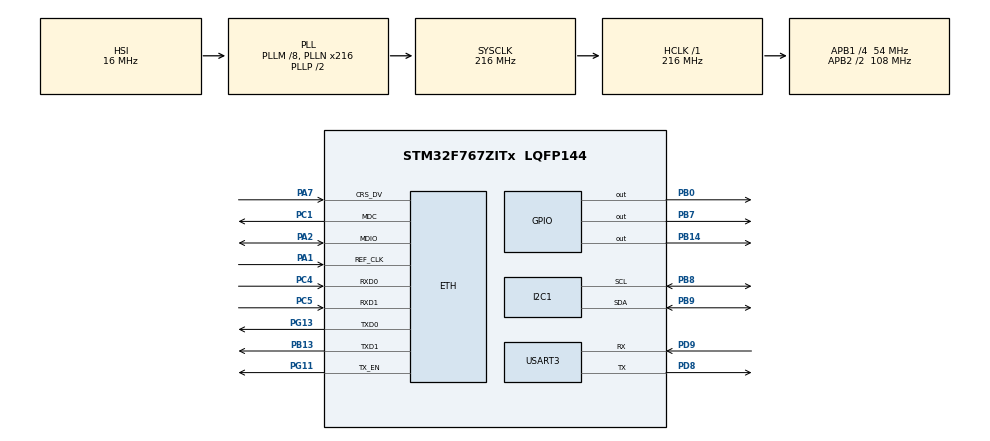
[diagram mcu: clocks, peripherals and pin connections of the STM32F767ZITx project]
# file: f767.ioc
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ETH.MediaInterface=HAL_ETH_RMII_MODE
FREERTOS.Tasks01=defaultTask,24,2048,StartDefaultTask,Default,NULL,Dynamic,NULL,NULL
FREERTOS.configTOTAL_HEAP_SIZE=65536
FREERTOS.configUSE_NEWLIB_REENTRANT=1
I2C1.Timing=0x20404768
Mcu.Family=STM32F7
Mcu.Name=STM32F767ZITx
Mcu.Package=LQFP144
NVIC.ETH_IRQn=true\:5\:0\:false\:false\:false\:true\:true\:false\:true
NVIC.PriorityGroup=NVIC_PRIORITYGROUP_4
NVIC.TIM6_DAC_IRQn=true\:15\:0\:false\:false\:true\:false\:false\:true\:true
NVIC.TimeBase=TIM6_DAC_IRQn
NVIC.TimeBaseIP=TIM6
PA1.Mode=RMII
PA1.Signal=ETH_REF_CLK
PA2.Mode=RMII
PA2.Signal=ETH_MDIO
PA7.Mode=RMII
PA7.Signal=ETH_CRS_DV
PB0.Signal=GPIO_Output
PB13.Mode=RMII
PB13.Signal=ETH_TXD1
PB14.Signal=GPIO_Output
PB7.Signal=GPIO_Output
PB8.Mode=I2C
PB8.Signal=I2C1_SCL
PB9.Mode=I2C
PB9.Signal=I2C1_SDA
PC1.Mode=RMII
PC1.Signal=ETH_MDC
PC4.Mode=RMII
PC4.Signal=ETH_RXD0
PC5.Mode=RMII
PC5.Signal=ETH_RXD1
PD8.Mode=Asynchronous
PD8.Signal=USART3_TX
PD9.Mode=Asynchronous
PD9.Signal=USART3_RX
PG11.Mode=RMII
PG11.Signal=ETH_TX_EN
PG13.Mode=RMII
PG13.Signal=ETH_TXD0
ProjectManager.HeapSize=0x200
ProjectManager.StackSize=0x400
ProjectManager.TargetToolchain=STM32CubeIDE
RCC.48MHZClocksFreq_Value=45000000
RCC.AHBFreq_Value=216000000
RCC.APB1CLKDivider=RCC_HCLK_DIV4
RCC.APB1Freq_Value=54000000
RCC.APB1TimFreq_Value=108000000
RCC.APB2CLKDivider=RCC_HCLK_DIV2
RCC.APB2Freq_Value=108000000
RCC.APB2TimFreq_Value=216000000
RCC.CortexFreq_Value=216000000
RCC.HCLKFreq_Value=216000000
RCC.HSE_VALUE=25000000
RCC.HSI_VALUE=16000000
RCC.LSE_VALUE=32768
RCC.PLLM=8
RCC.PLLN=216
RCC.PLLQ=9
RCC.SYSCLKFreq_VALUE=216000000
RCC.SYSCLKSource=RCC_SYSCLKSOURCE_PLLCLK
RCC.USBFreq_Value=48000000
RCC.VCOOutputFreq_Value=432000000
USART3.VirtualMode=VM_ASYNC
USART3.VirtualMode-Asynchronous=VM_ASYNC
VP_FREERTOS_VS_CMSIS_V2.Mode=CMSIS_V2
VP_RNG_VS_RNG.Mode=RNG_Activate
VP_SYS_VS_tim6.Mode=TIM6
board=custom

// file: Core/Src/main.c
/* USER CODE BEGIN Header */
/**
  ******************************************************************************
  * @file           : main.c
  * @brief          : Main program body
  ******************************************************************************
  * @attention
  *
  * Copyright (c) 2024 STMicroelectronics.
  * All rights reserved.
  *
  * This software is licensed under terms that can be found in the LICENSE file
  * in the root directory of this software component.
  * If no LICENSE file comes with this software, it is provided AS-IS.
  *
  ******************************************************************************
  */
/* USER CODE END Header */
#include "main.h"
#include "string.h"
#include "cmsis_os.h"

/* USER CODE BEGIN Includes */
#include "mongoose_glue.h"
#include "mongoose.h"

#include <stdint.h>

int16_t myIMU_ReadAccelX(void);
int16_t myIMU_ReadAccelY(void);
int16_t myIMU_ReadAccelZ(void);
/* USER CODE END Includes */

#if defined ( __ICCARM__ ) /*!< IAR Compiler */
#pragma location=0x2007c000
ETH_DMADescTypeDef  DMARxDscrTab[ETH_RX_DESC_CNT]; /* Ethernet Rx DMA Descriptors */
#pragma location=0x2007c0a0
ETH_DMADescTypeDef  DMATxDscrTab[ETH_TX_DESC_CNT]; /* Ethernet Tx DMA Descriptors */

#elif defined ( __CC_ARM )  /* MDK ARM Compiler */

__attribute__((at(0x2007c000))) ETH_DMADescTypeDef  DMARxDscrTab[ETH_RX_DESC_CNT]; /* Ethernet Rx DMA Descriptors */
__attribute__((at(0x2007c0a0))) ETH_DMADescTypeDef  DMATxDscrTab[ETH_TX_DESC_CNT]; /* Ethernet Tx DMA Descriptors */

#elif defined ( __GNUC__ ) /* GNU Compiler */

ETH_DMADescTypeDef DMARxDscrTab[ETH_RX_DESC_CNT] __attribute__((section(".RxDecripSection"))); /* Ethernet Rx DMA Descriptors */
ETH_DMADescTypeDef DMATxDscrTab[ETH_TX_DESC_CNT] __attribute__((section(".TxDecripSection")));   /* Ethernet Tx DMA Descriptors */
#endif

ETH_TxPacketConfig TxConfig;

ETH_HandleTypeDef heth;

I2C_HandleTypeDef hi2c1;

RNG_HandleTypeDef hrng;

UART_HandleTypeDef huart3;

/* Definitions for defaultTask */
osThreadId_t defaultTaskHandle;
const osThreadAttr_t defaultTask_attributes = {
  .name = "defaultTask",
  .stack_size = 2048 * 4,
  .priority = (osPriority_t) osPriorityNormal,
};
/* USER CODE BEGIN PV */

#define MMA8451_ADDRESS (0x1D << 1) // 8-bit I2C Slave Address (0x3A)
#define MMA8451_WHO_AM_I_REG 0x0D // WHO_AM_I Register: expected value 0x1A
#define MMA8451_CTRL_REG1 0x2A // Control Register 1
#define MMA8451_XYZ_DATA_CFG 0x0E // Data Configuration Register
#define MMA8451_OUT_X_MSB 0x01 // First data register for X-axis MSB

int16_t Accel_X, Accel_Y, Accel_Z; // 14-bit data will fit in 16-bit signed integer
uint8_t RxData[6]; // Buffer to store X, Y, Z data (2 bytes per axis)
char TxBuffer[100]; // Buffer for UART output

/* USER CODE END PV */

void SystemClock_Config(void);
static void MX_GPIO_Init(void);
static void MX_ETH_Init(void);
static void MX_RNG_Init(void);
static void MX_USART3_UART_Init(void);
static void MX_I2C1_Init(void);
void StartDefaultTask(void *argument);

/* USER CODE BEGIN PFP */

void MMA8451_Init(void);

struct mg_mgr mgr;  // Your initialized Mongoose manager
struct mg_ws_channel *imu_ws_reporter;  // your WebSocket reporter

static struct IMU_data s_IMU_data;

//static struct IMU_data s_IMU_data = {42, 42, 42, 42};
void my_get_IMU_data(struct IMU_data *data) {
	// Read the latest IMU values
	  data->accel_x = myIMU_ReadAccelX();
	  data->accel_y = myIMU_ReadAccelY();
	  data->accel_z = myIMU_ReadAccelZ();
	  data->timestamp = HAL_GetTick() / 1000.0f;
}
void my_set_IMU_data(struct IMU_data *data) {
  s_IMU_data = *data; // Sync with your device
}

/* USER CODE END PFP */

/* USER CODE BEGIN 0 */
bool mg_random(void *buf, size_t len) {  // Use on-board RNG
  for (size_t n = 0; n < len; n += sizeof(uint32_t)) {
    uint32_t r;
    HAL_RNG_GenerateRandomNumber(&hrng, &r);
    memcpy((char *) buf + n, &r, n + sizeof(r) > len ? len - n : sizeof(r));
  }
  return true; // TODO(): ensure successful RNG init, then return on false above
}

int _write(int fd, unsigned char *buf, int len) {
  if (fd == 1 || fd == 2) {                     // stdout or stderr ?
    HAL_UART_Transmit(&huart3, buf, len, 999);  // Print to the UART
  }
  return len;
}

/* USER CODE END 0 */

int main(void)
{

  /* MCU Configuration--------------------------------------------------------*/

  /* Reset of all peripherals, Initializes the Flash interface and the Systick. */
  HAL_Init();

  /* Configure the system clock */
  SystemClock_Config();

  /* Initialize all configured peripherals */
  MX_GPIO_Init();
  MX_ETH_Init();
  MX_RNG_Init();
  MX_USART3_UART_Init();
  MX_I2C1_Init();
  /* USER CODE BEGIN 2 */

  // Initialize the MMA8451
  MMA8451_Init();
  // Optional: Check WHO_AM_I register to confirm communication is working
  uint8_t who_am_i;
  HAL_I2C_Mem_Read(&hi2c1, MMA8451_ADDRESS, MMA8451_WHO_AM_I_REG, 1, &who_am_i, 1, HAL_MAX_DELAY);
  if (who_am_i == 0x1A) {
      // Communication established! Toggle LED to confirm.

  }

      // Then register the reporter:

  /* USER CODE END 2 */

  /* Init scheduler */
  osKernelInitialize();

  /* Create the thread(s) */
  /* creation of defaultTask */
  defaultTaskHandle = osThreadNew(StartDefaultTask, NULL, &defaultTask_attributes);

  /* Start scheduler */
  osKernelStart();

  /* We should never get here as control is now taken by the scheduler */

  /* Infinite loop */
  while (1)
  {

  }
}

void SystemClock_Config(void)
{
  RCC_OscInitTypeDef RCC_OscInitStruct = {0};
  RCC_ClkInitTypeDef RCC_ClkInitStruct = {0};

  /** Configure the main internal regulator output voltage
  */
  __HAL_RCC_PWR_CLK_ENABLE();
  __HAL_PWR_VOLTAGESCALING_CONFIG(PWR_REGULATOR_VOLTAGE_SCALE1);

  /** Initializes the RCC Oscillators according to the specified parameters
  * in the RCC_OscInitTypeDef structure.
  */
  RCC_OscInitStruct.OscillatorType = RCC_OSCILLATORTYPE_HSI;
  RCC_OscInitStruct.HSIState = RCC_HSI_ON;
  RCC_OscInitStruct.HSICalibrationValue = RCC_HSICALIBRATION_DEFAULT;
  RCC_OscInitStruct.PLL.PLLState = RCC_PLL_ON;
  RCC_OscInitStruct.PLL.PLLSource = RCC_PLLSOURCE_HSI;
  RCC_OscInitStruct.PLL.PLLM = 8;
  RCC_OscInitStruct.PLL.PLLN = 216;
  RCC_OscInitStruct.PLL.PLLP = RCC_PLLP_DIV2;
  RCC_OscInitStruct.PLL.PLLQ = 9;
  RCC_OscInitStruct.PLL.PLLR = 2;
  if (HAL_RCC_OscConfig(&RCC_OscInitStruct) != HAL_OK)
  {
    Error_Handler();
  }

  /** Activate the Over-Drive mode
  */
  if (HAL_PWREx_EnableOverDrive() != HAL_OK)
  {
    Error_Handler();
  }

  /** Initializes the CPU, AHB and APB buses clocks
  */
  RCC_ClkInitStruct.ClockType = RCC_CLOCKTYPE_HCLK|RCC_CLOCKTYPE_SYSCLK
                              |RCC_CLOCKTYPE_PCLK1|RCC_CLOCKTYPE_PCLK2;
  RCC_ClkInitStruct.SYSCLKSource = RCC_SYSCLKSOURCE_PLLCLK;
  RCC_ClkInitStruct.AHBCLKDivider = RCC_SYSCLK_DIV1;
  RCC_ClkInitStruct.APB1CLKDivider = RCC_HCLK_DIV4;
  RCC_ClkInitStruct.APB2CLKDivider = RCC_HCLK_DIV2;

  if (HAL_RCC_ClockConfig(&RCC_ClkInitStruct, FLASH_LATENCY_7) != HAL_OK)
  {
    Error_Handler();
  }
}

static void MX_ETH_Init(void)
{

   static uint8_t MACAddr[6];

  heth.Instance = ETH;
  MACAddr[0] = 0x00;
  MACAddr[1] = 0x80;
  MACAddr[2] = 0xE1;
  MACAddr[3] = 0x00;
  MACAddr[4] = 0x00;
  MACAddr[5] = 0x00;
  heth.Init.MACAddr = &MACAddr[0];
  heth.Init.MediaInterface = HAL_ETH_RMII_MODE;
  heth.Init.TxDesc = DMATxDscrTab;
  heth.Init.RxDesc = DMARxDscrTab;
  heth.Init.RxBuffLen = 1524;

  if (HAL_ETH_Init(&heth) != HAL_OK)
  {
    Error_Handler();
  }

  memset(&TxConfig, 0 , sizeof(ETH_TxPacketConfig));
  TxConfig.Attributes = ETH_TX_PACKETS_FEATURES_CSUM | ETH_TX_PACKETS_FEATURES_CRCPAD;
  TxConfig.ChecksumCtrl = ETH_CHECKSUM_IPHDR_PAYLOAD_INSERT_PHDR_CALC;
  TxConfig.CRCPadCtrl = ETH_CRC_PAD_INSERT;

}

static void MX_I2C1_Init(void)
{

  hi2c1.Instance = I2C1;
  hi2c1.Init.Timing = 0x20404768;
  hi2c1.Init.OwnAddress1 = 0;
  hi2c1.Init.AddressingMode = I2C_ADDRESSINGMODE_7BIT;
  hi2c1.Init.DualAddressMode = I2C_DUALADDRESS_DISABLE;
  hi2c1.Init.OwnAddress2 = 0;
  hi2c1.Init.OwnAddress2Masks = I2C_OA2_NOMASK;
  hi2c1.Init.GeneralCallMode = I2C_GENERALCALL_DISABLE;
  hi2c1.Init.NoStretchMode = I2C_NOSTRETCH_DISABLE;
  if (HAL_I2C_Init(&hi2c1) != HAL_OK)
  {
    Error_Handler();
  }

  /** Configure Analogue filter
  */
  if (HAL_I2CEx_ConfigAnalogFilter(&hi2c1, I2C_ANALOGFILTER_ENABLE) != HAL_OK)
  {
    Error_Handler();
  }

  /** Configure Digital filter
  */
  if (HAL_I2CEx_ConfigDigitalFilter(&hi2c1, 0) != HAL_OK)
  {
    Error_Handler();
  }

}

static void MX_RNG_Init(void)
{

  hrng.Instance = RNG;
  if (HAL_RNG_Init(&hrng) != HAL_OK)
  {
    Error_Handler();
  }

}

static void MX_USART3_UART_Init(void)
{

  huart3.Instance = USART3;
  huart3.Init.BaudRate = 115200;
  huart3.Init.WordLength = UART_WORDLENGTH_8B;
  huart3.Init.StopBits = UART_STOPBITS_1;
  huart3.Init.Parity = UART_PARITY_NONE;
  huart3.Init.Mode = UART_MODE_TX_RX;
  huart3.Init.HwFlowCtl = UART_HWCONTROL_NONE;
  huart3.Init.OverSampling = UART_OVERSAMPLING_16;
  huart3.Init.OneBitSampling = UART_ONE_BIT_SAMPLE_DISABLE;
  huart3.AdvancedInit.AdvFeatureInit = UART_ADVFEATURE_NO_INIT;
  if (HAL_UART_Init(&huart3) != HAL_OK)
  {
    Error_Handler();
  }

}

static void MX_GPIO_Init(void)
{
  GPIO_InitTypeDef GPIO_InitStruct = {0};

  /* GPIO Ports Clock Enable */
  __HAL_RCC_GPIOC_CLK_ENABLE();
  __HAL_RCC_GPIOA_CLK_ENABLE();
  __HAL_RCC_GPIOB_CLK_ENABLE();
  __HAL_RCC_GPIOD_CLK_ENABLE();
  __HAL_RCC_GPIOG_CLK_ENABLE();

  /*Configure GPIO pin Output Level */
  HAL_GPIO_WritePin(GPIOB, GPIO_PIN_0|GPIO_PIN_14|GPIO_PIN_7, GPIO_PIN_RESET);

  /*Configure GPIO pins : PB0 PB14 PB7 */
  GPIO_InitStruct.Pin = GPIO_PIN_0|GPIO_PIN_14|GPIO_PIN_7;
  GPIO_InitStruct.Mode = GPIO_MODE_OUTPUT_PP;
  GPIO_InitStruct.Pull = GPIO_NOPULL;
  GPIO_InitStruct.Speed = GPIO_SPEED_FREQ_LOW;
  HAL_GPIO_Init(GPIOB, &GPIO_InitStruct);

}

/* USER CODE BEGIN 4 */

void MMA8451_Init(void)
 {
     uint8_t Data;
     // 1. Standby Mode: Clear Active bit (Bit 0) in CTRL_REG1
     Data = 0x00;
     HAL_I2C_Mem_Write(&hi2c1, MMA8451_ADDRESS, MMA8451_CTRL_REG1, 1, &Data, 1, HAL_MAX_DELAY);

     // 2. Configure: Set Scale (2g range) in XYZ_DATA_CFG
     Data = 0x00; // Full Scale 2g (bits Fs1:Fs0 = 00)
     HAL_I2C_Mem_Write(&hi2c1, MMA8451_ADDRESS, MMA8451_XYZ_DATA_CFG, 1, &Data, 1, HAL_MAX_DELAY);

     // 3. Active Mode: Set Active bit (Bit 0) in CTRL_REG1
     Data = 0x01; // ODR=800Hz (default), Active Mode (Bit 0 = 1)
     HAL_I2C_Mem_Write(&hi2c1, MMA8451_ADDRESS, MMA8451_CTRL_REG1, 1, &Data, 1, HAL_MAX_DELAY);
 }

int16_t myIMU_ReadAccelX(void) {
  uint8_t RxData[2];
  HAL_I2C_Mem_Read(&hi2c1, MMA8451_ADDRESS, MMA8451_OUT_X_MSB, 1, RxData, 2, HAL_MAX_DELAY);
  return (int16_t)((RxData[0] << 8) | RxData[1]) >> 2;
}

int16_t myIMU_ReadAccelY(void) {
  uint8_t RxData[2];
  HAL_I2C_Mem_Read(&hi2c1, MMA8451_ADDRESS, MMA8451_OUT_X_MSB + 2, 1, RxData, 2, HAL_MAX_DELAY);
  return (int16_t)((RxData[0] << 8) | RxData[1]) >> 2;
}

int16_t myIMU_ReadAccelZ(void) {
  uint8_t RxData[2];
  HAL_I2C_Mem_Read(&hi2c1, MMA8451_ADDRESS, MMA8451_OUT_X_MSB + 4, 1, RxData, 2, HAL_MAX_DELAY);
  return (int16_t)((RxData[0] << 8) | RxData[1]) >> 2;
}

/* USER CODE END 4 */

void StartDefaultTask(void *argument)
{
    mongoose_init();

    mongoose_set_http_handlers("IMU_data", my_get_IMU_data, my_set_IMU_data);

    TickType_t last_wake_time = xTaskGetTickCount();
    const TickType_t delay = pdMS_TO_TICKS(100); // 100ms interval

    for (;;) {
        // Poll Mongoose (handle incoming HTTP requests)
        mongoose_poll();

         int16_t accel_x = myIMU_ReadAccelX();
         int16_t accel_y = myIMU_ReadAccelY();
         int16_t accel_z = myIMU_ReadAccelZ();
         float timestamp = HAL_GetTick() / 1000.0f;

        vTaskDelayUntil(&last_wake_time, delay);
    }

  /* USER CODE END 5 */
}

void HAL_TIM_PeriodElapsedCallback(TIM_HandleTypeDef *htim)
{
  if (htim->Instance == TIM6)
  {
    HAL_IncTick();
  }
}

void Error_Handler(void)
{
  __disable_irq();
  while (1)
  {
  }
}
